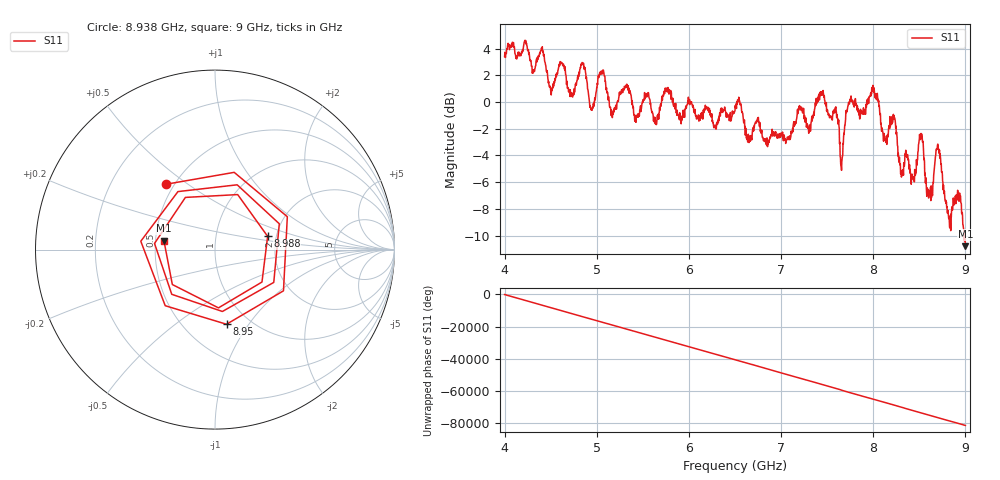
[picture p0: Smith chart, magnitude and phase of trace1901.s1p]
! Created with skrf 1.8.0 (http://scikit-rf.org).
# Hz S RI R 50.0
!freq ReS11 ImS11
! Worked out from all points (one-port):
!   1601 points, 4 GHz to 9 GHz, reference 50 ohm
!   lowest |S11| = -10.8 dB at 9 GHz (marker M1), VSWR 1.81, Z = 27.7 + j2.97 ohm
!   |S11| at or under -10 dB: 8.98606 GHz to 8.990662 GHz (4.602 MHz wide, 0.0512 % of centre); 8.99548 GHz to end of sweep
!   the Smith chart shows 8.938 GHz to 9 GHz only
!   S11 on the Smith chart (normalised r, x): 8.938 GHz: 0.45, +0.41; 8.95 GHz: 0.78, -0.79; 8.988 GHz: 1.80, +0.29; 9 GHz: 0.55, +0.06
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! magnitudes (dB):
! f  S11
! 4 GHz  3.4
! 4.403 GHz  4.0
! 4.506 GHz  0.5
! 4.625 GHz  2.9
! 4.728 GHz  0.5
! 4.853 GHz  2.9
! 4.944 GHz  -0.6
! 5.05 GHz  2.3
! 5.162 GHz  -0.7
! 5.25 GHz  0.5
! 5.875 GHz  -0.9
! 6.5 GHz  -0.7
! 7.125 GHz  -2.0
! 7.444 GHz  0.5
! 7.659 GHz  -4.5
! 7.75 GHz  0.1
! 8.009 GHz  1.1
! 8.112 GHz  -2.9
! 8.375 GHz  -4.0
! 8.438 GHz  -5.6
! 8.519 GHz  -2.4
! 8.619 GHz  -6.8
! 8.706 GHz  -3.6
! 8.822 GHz  -8.7
! 8.938 GHz  -6.8
! 8.95 GHz  -7.5
! 8.988 GHz  -10.4
! 9 GHz  -10.8
